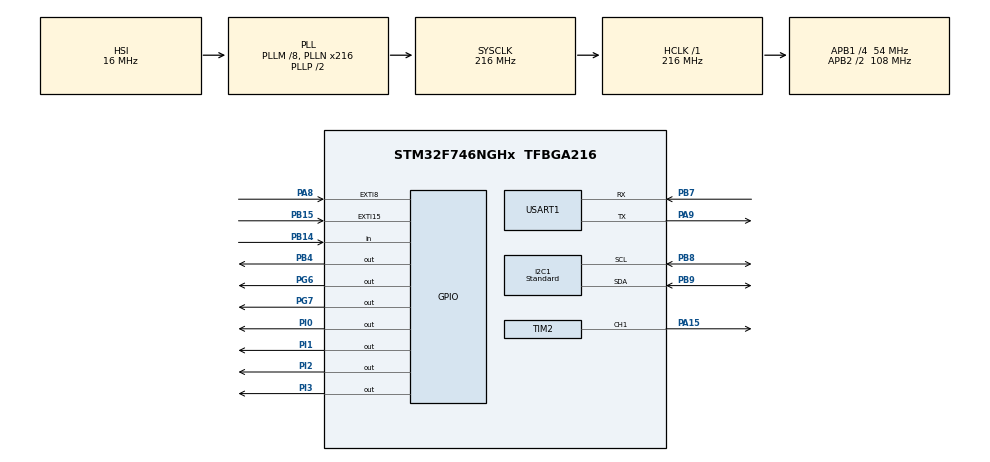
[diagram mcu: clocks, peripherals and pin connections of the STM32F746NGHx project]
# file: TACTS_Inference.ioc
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CORTEX_M7.CPU_DCache=Enabled
CORTEX_M7.CPU_ICache=Enabled
I2C1.I2C_Speed_Mode=I2C_Standard
I2C1.Timing=0x20404768
Mcu.Family=STM32F7
Mcu.Name=STM32F746NGHx
Mcu.Package=TFBGA216
NVIC.EXTI15_10_IRQn=true\:0\:0\:false\:true\:true\:4\:true\:true\:true
NVIC.EXTI9_5_IRQn=true\:0\:0\:false\:true\:true\:5\:true\:true\:true
NVIC.I2C1_ER_IRQn=true\:0\:0\:false\:true\:true\:2\:true\:true\:true
NVIC.I2C1_EV_IRQn=true\:0\:0\:false\:true\:true\:3\:true\:true\:true
NVIC.PriorityGroup=NVIC_PRIORITYGROUP_4
NVIC.RCC_IRQn=true\:0\:0\:false\:false\:true\:true\:false\:true
NVIC.TIM2_IRQn=true\:0\:0\:false\:true\:true\:6\:true\:true\:true
NVIC.USART1_IRQn=true\:0\:0\:false\:true\:true\:1\:true\:true\:true
PA15.Signal=S_TIM2_CH1_ETR
PA8.Signal=GPXTI8
PA9.Mode=Asynchronous
PA9.Signal=USART1_TX
PB14.Signal=GPIO_Input
PB15.Signal=GPXTI15
PB4.Signal=GPIO_Output
PB7.Mode=Asynchronous
PB7.Signal=USART1_RX
PB8.Mode=I2C
PB8.Signal=I2C1_SCL
PB9.Mode=I2C
PB9.Signal=I2C1_SDA
PG6.Signal=GPIO_Output
PG7.Signal=GPIO_Output
PH0/OSC_IN.Mode=HSE-External-Clock-Source
PH0/OSC_IN.Signal=RCC_OSC_IN
PH1/OSC_OUT.Mode=HSE-External-Clock-Source
PH1/OSC_OUT.Signal=RCC_OSC_OUT
PI0.Signal=GPIO_Output
PI1.Signal=GPIO_Output
PI2.Signal=GPIO_Output
PI3.Signal=GPIO_Output
ProjectManager.HeapSize=0x800
ProjectManager.StackSize=0x800
ProjectManager.TargetToolchain=STM32CubeIDE
RCC.AHBFreq_Value=216000000
RCC.APB1CLKDivider=RCC_HCLK_DIV4
RCC.APB1Freq_Value=54000000
RCC.APB1TimFreq_Value=108000000
RCC.APB2CLKDivider=RCC_HCLK_DIV2
RCC.APB2Freq_Value=108000000
RCC.APB2TimFreq_Value=216000000
RCC.CortexFreq_Value=216000000
RCC.HCLKFreq_Value=216000000
RCC.HSE_VALUE=8000000
RCC.HSI_VALUE=16000000
RCC.LSE_VALUE=32768
RCC.PLLM=8
RCC.PLLN=216
RCC.SYSCLKFreq_VALUE=216000000
RCC.SYSCLKSource=RCC_SYSCLKSOURCE_PLLCLK
RCC.USBFreq_Value=216000000
RCC.VCOOutputFreq_Value=432000000
SH.S_TIM2_CH1_ETR.0=TIM2_CH1,PWM Generation1 CH1
STMicroelectronics.X-CUBE-AI.8.1.0.ActivationBufferSizeList=7500
STMicroelectronics.X-CUBE-AI.8.1.0.ActivationBuffers=pool0
STMicroelectronics.X-CUBE-AI.8.1.0.ActivationNames=pool0
STMicroelectronics.X-CUBE-AI.8.1.0.ActivationSizes=AI_FOURLINE_DATA_ACTIVATION_1_SIZE
STMicroelectronics.X-CUBE-AI.8.1.0.HeapSize=0x800
STMicroelectronics.X-CUBE-AI.8.1.0.InternalRamActivationBufferMaxSize=AI_FOURLINE_DATA_ACTIVATIONS_SIZE
STMicroelectronics.X-CUBE-AI.8.1.0.LatestDirectoryUsed-8a2fe1598c8f062d02c7bb4ec76a1644bc453f842bbd3e2676f89fcfacc800a4=C\:\\Users\\21310\\Desktop\\PJH\\TACTS\\MicroController\\STM32F746\\TACTS_Inference\\goodFlies
STMicroelectronics.X-CUBE-AI.8.1.0.MaximumNumberOfInputLayer=1
STMicroelectronics.X-CUBE-AI.8.1.0.MaximumNumberOfOutputLayer=1
STMicroelectronics.X-CUBE-AI.8.1.0.MaximumSizeOfInputLayer=1
STMicroelectronics.X-CUBE-AI.8.1.0.MaximumSizeOfOutputLayer=1
STMicroelectronics.X-CUBE-AI.8.1.0.ModelActualCompression-8a2fe1598c8f062d02c7bb4ec76a1644bc453f842bbd3e2676f89fcfacc800a4=0.0
STMicroelectronics.X-CUBE-AI.8.1.0.ModelCompression-8a2fe1598c8f062d02c7bb4ec76a1644bc453f842bbd3e2676f89fcfacc800a4=None
STMicroelectronics.X-CUBE-AI.8.1.0.ModelFlashOccupation-8a2fe1598c8f062d02c7bb4ec76a1644bc453f842bbd3e2676f89fcfacc800a4=298624
STMicroelectronics.X-CUBE-AI.8.1.0.ModelHashList=8a2fe1598c8f062d02c7bb4ec76a1644bc453f842bbd3e2676f89fcfacc800a4
STMicroelectronics.X-CUBE-AI.8.1.0.ModelKind-8a2fe1598c8f062d02c7bb4ec76a1644bc453f842bbd3e2676f89fcfacc800a4=KERAS
STMicroelectronics.X-CUBE-AI.8.1.0.ModelMacc-8a2fe1598c8f062d02c7bb4ec76a1644bc453f842bbd3e2676f89fcfacc800a4=74708
STMicroelectronics.X-CUBE-AI.8.1.0.ModelName-8a2fe1598c8f062d02c7bb4ec76a1644bc453f842bbd3e2676f89fcfacc800a4=fourline
STMicroelectronics.X-CUBE-AI.8.1.0.ModelNameList=fourline
STMicroelectronics.X-CUBE-AI.8.1.0.ModelRamOccupation-8a2fe1598c8f062d02c7bb4ec76a1644bc453f842bbd3e2676f89fcfacc800a4=7500
STMicroelectronics.X-CUBE-AI.8.1.0.ModelStructureFile-8a2fe1598c8f062d02c7bb4ec76a1644bc453f842bbd3e2676f89fcfacc800a4=goodFlies/241119_0136_4kPa_6.5V_4line__CNN_MinEli5_Force1N.h5
STMicroelectronics.X-CUBE-AI.8.1.0.ModelType-8a2fe1598c8f062d02c7bb4ec76a1644bc453f842bbd3e2676f89fcfacc800a4=Saved model
STMicroelectronics.X-CUBE-AI.8.1.0.ReadyForCodeGeneration=true
STMicroelectronics.X-CUBE-AI.8.1.0.StackSize=0x800
STMicroelectronics.X-CUBE-AI.8.1.0.WorkingBufferStartAddrList=0xFFFFFFFF
STMicroelectronics.X-CUBE-AI.8.1.0.XAaCUBEAaAICcArtificialOoIntelligenceJjCore=true
STMicroelectronics.X-CUBE-AI.8.1.0.copyWeightToRam=false
STMicroelectronics.X-CUBE-AI.8.1.0.copyWeightToRam-8a2fe1598c8f062d02c7bb4ec76a1644bc453f842bbd3e2676f89fcfacc800a4=false
STMicroelectronics.X-CUBE-AI.8.1.0.customLayerConfigEnabled=false
STMicroelectronics.X-CUBE-AI.8.1.0.customLayerConfigEnabled-8a2fe1598c8f062d02c7bb4ec76a1644bc453f842bbd3e2676f89fcfacc800a4=false
STMicroelectronics.X-CUBE-AI.8.1.0.noOnnxIoTranspose=false
STMicroelectronics.X-CUBE-AI.8.1.0.noOnnxIoTranspose-8a2fe1598c8f062d02c7bb4ec76a1644bc453f842bbd3e2676f89fcfacc800a4=false
STMicroelectronics.X-CUBE-AI.8.1.0.useInputAllocation=true
STMicroelectronics.X-CUBE-AI.8.1.0.useInputAllocation-8a2fe1598c8f062d02c7bb4ec76a1644bc453f842bbd3e2676f89fcfacc800a4=true
STMicroelectronics.X-CUBE-AI.8.1.0.useOutputAllocation=true
STMicroelectronics.X-CUBE-AI.8.1.0.useOutputAllocation-8a2fe1598c8f062d02c7bb4ec76a1644bc453f842bbd3e2676f89fcfacc800a4=true
TIM2.Channel-PWM\ Generation1\ CH1=TIM_CHANNEL_1
TIM2.Period=1000-1
TIM2.Prescaler=2160-1
USART1.VirtualMode-Asynchronous=VM_ASYNC
VP_CRC_VS_CRC.Mode=CRC_Activate
VP_STMicroelectronics.X-CUBE-AI_VS_ArtificialOoIntelligenceJjXAaCUBEAaAI_8.1.0.Mode=ArtificialOoIntelligenceJjXAaCUBEAaAI
VP_TIM2_VS_ClockSourceINT.Mode=Internal
board=custom

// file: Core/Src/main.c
/* USER CODE BEGIN Header */
/**
  ******************************************************************************
  * @file           : main.c
  * @brief          : Main program body
  ******************************************************************************
  * @attention
  *
  * Copyright (c) 2023 STMicroelectronics.
  * All rights reserved.
  *
  * This software is licensed under terms that can be found in the LICENSE file
  * in the root directory of this software component.
  * If no LICENSE file comes with this software, it is provided AS-IS.
  *
  ******************************************************************************
  */
/* USER CODE END Header */
#include "main.h"

/* USER CODE BEGIN Includes */
#include "string.h"
#include "stdio.h"
#include "vl53l0x_jh.h"
#include "kalman.h"
#include "i2c.h"
#include "usart.h"
#include "threeLine.h"
#include "threeLine_data.h"
#include "ai.h"
#include "avgstd.h"
#include "motor.h"
#include "command.h"
#include "hx711.h"

/* USER CODE END Includes */

/* USER CODE BEGIN PD */
#define JH
//#define data
/* USER CODE END PD */

CRC_HandleTypeDef hcrc;

TIM_HandleTypeDef htim2;

void SystemClock_Config(void);
static void MX_GPIO_Init(void);
static void MX_CRC_Init(void);
static void MX_TIM2_Init(void);
static void MX_NVIC_Init(void);

int main(void)
{

  /* Enable I-Cache---------------------------------------------------------*/
  SCB_EnableICache();

  /* Enable D-Cache---------------------------------------------------------*/
  SCB_EnableDCache();

  /* MCU Configuration--------------------------------------------------------*/

  /* Reset of all peripherals, Initializes the Flash interface and the Systick. */
  HAL_Init();

  /* Configure the system clock */
  SystemClock_Config();

  /* Initialize all configured peripherals */
  MX_GPIO_Init();
  MX_USART1_UART_Init();
  MX_I2C1_Init();
  MX_CRC_Init();
  MX_TIM2_Init();

  /* Initialize interrupts */
  MX_NVIC_Init();
  /* USER CODE BEGIN 2 */
  HAL_TIM_PWM_Start(&htim2,TIM_CHANNEL_1);

  aiInit();
  startMsg();
  sayServoAngle(&htim2, TIM_CHANNEL_1, 0);

  /* USER CODE END 2 */

  /* Infinite loop */
  /* USER CODE BEGIN WHILE */
  while (1)
  {
#ifdef JH
	  if(ReceiveUartMessage(&huart1, rxMsg, sizeof(rxMsg)) == HAL_OK)
	  {
	      ProcessCommand(rxMsg);
	  }
#endif
#ifdef YJ

	  InferenceHeatI2CCommand();

#endif

    /* USER CODE END WHILE */

  }
}

void SystemClock_Config(void)
{
  RCC_OscInitTypeDef RCC_OscInitStruct = {0};
  RCC_ClkInitTypeDef RCC_ClkInitStruct = {0};

  /** Configure the main internal regulator output voltage
  */
  __HAL_RCC_PWR_CLK_ENABLE();
  __HAL_PWR_VOLTAGESCALING_CONFIG(PWR_REGULATOR_VOLTAGE_SCALE1);

  /** Initializes the RCC Oscillators according to the specified parameters
  * in the RCC_OscInitTypeDef structure.
  */
  RCC_OscInitStruct.OscillatorType = RCC_OSCILLATORTYPE_HSI;
  RCC_OscInitStruct.HSIState = RCC_HSI_ON;
  RCC_OscInitStruct.HSICalibrationValue = RCC_HSICALIBRATION_DEFAULT;
  RCC_OscInitStruct.PLL.PLLState = RCC_PLL_ON;
  RCC_OscInitStruct.PLL.PLLSource = RCC_PLLSOURCE_HSI;
  RCC_OscInitStruct.PLL.PLLM = 8;
  RCC_OscInitStruct.PLL.PLLN = 216;
  RCC_OscInitStruct.PLL.PLLP = RCC_PLLP_DIV2;
  RCC_OscInitStruct.PLL.PLLQ = 2;
  if (HAL_RCC_OscConfig(&RCC_OscInitStruct) != HAL_OK)
  {
    Error_Handler();
  }

  /** Activate the Over-Drive mode
  */
  if (HAL_PWREx_EnableOverDrive() != HAL_OK)
  {
    Error_Handler();
  }

  /** Initializes the CPU, AHB and APB buses clocks
  */
  RCC_ClkInitStruct.ClockType = RCC_CLOCKTYPE_HCLK|RCC_CLOCKTYPE_SYSCLK
                              |RCC_CLOCKTYPE_PCLK1|RCC_CLOCKTYPE_PCLK2;
  RCC_ClkInitStruct.SYSCLKSource = RCC_SYSCLKSOURCE_PLLCLK;
  RCC_ClkInitStruct.AHBCLKDivider = RCC_SYSCLK_DIV1;
  RCC_ClkInitStruct.APB1CLKDivider = RCC_HCLK_DIV4;
  RCC_ClkInitStruct.APB2CLKDivider = RCC_HCLK_DIV2;

  if (HAL_RCC_ClockConfig(&RCC_ClkInitStruct, FLASH_LATENCY_7) != HAL_OK)
  {
    Error_Handler();
  }
}

/**
  * @brief NVIC Configuration.
  * @retval None
  */
static void MX_NVIC_Init(void)
{
  /* USART1_IRQn interrupt configuration */
  HAL_NVIC_SetPriority(USART1_IRQn, 0, 0);
  HAL_NVIC_EnableIRQ(USART1_IRQn);
  /* I2C1_ER_IRQn interrupt configuration */
  HAL_NVIC_SetPriority(I2C1_ER_IRQn, 0, 0);
  HAL_NVIC_EnableIRQ(I2C1_ER_IRQn);
  /* I2C1_EV_IRQn interrupt configuration */
  HAL_NVIC_SetPriority(I2C1_EV_IRQn, 0, 0);
  HAL_NVIC_EnableIRQ(I2C1_EV_IRQn);
  /* EXTI15_10_IRQn interrupt configuration */
  HAL_NVIC_SetPriority(EXTI15_10_IRQn, 0, 0);
  HAL_NVIC_EnableIRQ(EXTI15_10_IRQn);
  /* EXTI9_5_IRQn interrupt configuration */
  HAL_NVIC_SetPriority(EXTI9_5_IRQn, 0, 0);
  HAL_NVIC_EnableIRQ(EXTI9_5_IRQn);
  /* TIM2_IRQn interrupt configuration */
  HAL_NVIC_SetPriority(TIM2_IRQn, 0, 0);
  HAL_NVIC_EnableIRQ(TIM2_IRQn);
}

static void MX_CRC_Init(void)
{

  hcrc.Instance = CRC;
  hcrc.Init.DefaultPolynomialUse = DEFAULT_POLYNOMIAL_ENABLE;
  hcrc.Init.DefaultInitValueUse = DEFAULT_INIT_VALUE_ENABLE;
  hcrc.Init.InputDataInversionMode = CRC_INPUTDATA_INVERSION_NONE;
  hcrc.Init.OutputDataInversionMode = CRC_OUTPUTDATA_INVERSION_DISABLE;
  hcrc.InputDataFormat = CRC_INPUTDATA_FORMAT_BYTES;
  if (HAL_CRC_Init(&hcrc) != HAL_OK)
  {
    Error_Handler();
  }

}

static void MX_TIM2_Init(void)
{

  TIM_ClockConfigTypeDef sClockSourceConfig = {0};
  TIM_MasterConfigTypeDef sMasterConfig = {0};
  TIM_OC_InitTypeDef sConfigOC = {0};

  htim2.Instance = TIM2;
  htim2.Init.Prescaler = 2160-1;
  htim2.Init.CounterMode = TIM_COUNTERMODE_UP;
  htim2.Init.Period = 1000-1;
  htim2.Init.ClockDivision = TIM_CLOCKDIVISION_DIV1;
  htim2.Init.AutoReloadPreload = TIM_AUTORELOAD_PRELOAD_DISABLE;
  if (HAL_TIM_Base_Init(&htim2) != HAL_OK)
  {
    Error_Handler();
  }
  sClockSourceConfig.ClockSource = TIM_CLOCKSOURCE_INTERNAL;
  if (HAL_TIM_ConfigClockSource(&htim2, &sClockSourceConfig) != HAL_OK)
  {
    Error_Handler();
  }
  if (HAL_TIM_PWM_Init(&htim2) != HAL_OK)
  {
    Error_Handler();
  }
  sMasterConfig.MasterOutputTrigger = TIM_TRGO_RESET;
  sMasterConfig.MasterSlaveMode = TIM_MASTERSLAVEMODE_DISABLE;
  if (HAL_TIMEx_MasterConfigSynchronization(&htim2, &sMasterConfig) != HAL_OK)
  {
    Error_Handler();
  }
  sConfigOC.OCMode = TIM_OCMODE_PWM1;
  sConfigOC.Pulse = 0;
  sConfigOC.OCPolarity = TIM_OCPOLARITY_HIGH;
  sConfigOC.OCFastMode = TIM_OCFAST_DISABLE;
  if (HAL_TIM_PWM_ConfigChannel(&htim2, &sConfigOC, TIM_CHANNEL_1) != HAL_OK)
  {
    Error_Handler();
  }
  HAL_TIM_MspPostInit(&htim2);

}

static void MX_GPIO_Init(void)
{
  GPIO_InitTypeDef GPIO_InitStruct = {0};

  /* GPIO Ports Clock Enable */
  __HAL_RCC_GPIOB_CLK_ENABLE();
  __HAL_RCC_GPIOA_CLK_ENABLE();
  __HAL_RCC_GPIOI_CLK_ENABLE();
  __HAL_RCC_GPIOH_CLK_ENABLE();
  __HAL_RCC_GPIOG_CLK_ENABLE();

  /*Configure GPIO pin Output Level */
  HAL_GPIO_WritePin(GPIOB, GPIO_PIN_4, GPIO_PIN_RESET);

  /*Configure GPIO pin Output Level */
  HAL_GPIO_WritePin(GPIOI, GPIO_PIN_3|GPIO_PIN_2|GPIO_PIN_1|GPIO_PIN_0, GPIO_PIN_RESET);

  /*Configure GPIO pin Output Level */
  HAL_GPIO_WritePin(GPIOG, GPIO_PIN_7|GPIO_PIN_6, GPIO_PIN_RESET);

  /*Configure GPIO pin : PB4 */
  GPIO_InitStruct.Pin = GPIO_PIN_4;
  GPIO_InitStruct.Mode = GPIO_MODE_OUTPUT_PP;
  GPIO_InitStruct.Pull = GPIO_NOPULL;
  GPIO_InitStruct.Speed = GPIO_SPEED_FREQ_LOW;
  HAL_GPIO_Init(GPIOB, &GPIO_InitStruct);

  /*Configure GPIO pins : PI3 PI2 PI1 PI0 */
  GPIO_InitStruct.Pin = GPIO_PIN_3|GPIO_PIN_2|GPIO_PIN_1|GPIO_PIN_0;
  GPIO_InitStruct.Mode = GPIO_MODE_OUTPUT_PP;
  GPIO_InitStruct.Pull = GPIO_NOPULL;
  GPIO_InitStruct.Speed = GPIO_SPEED_FREQ_LOW;
  HAL_GPIO_Init(GPIOI, &GPIO_InitStruct);

  /*Configure GPIO pin : PA8 */
  GPIO_InitStruct.Pin = GPIO_PIN_8;
  GPIO_InitStruct.Mode = GPIO_MODE_IT_RISING;
  GPIO_InitStruct.Pull = GPIO_NOPULL;
  HAL_GPIO_Init(GPIOA, &GPIO_InitStruct);

  /*Configure GPIO pins : PG7 PG6 */
  GPIO_InitStruct.Pin = GPIO_PIN_7|GPIO_PIN_6;
  GPIO_InitStruct.Mode = GPIO_MODE_OUTPUT_PP;
  GPIO_InitStruct.Pull = GPIO_NOPULL;
  GPIO_InitStruct.Speed = GPIO_SPEED_FREQ_LOW;
  HAL_GPIO_Init(GPIOG, &GPIO_InitStruct);

  /*Configure GPIO pin : PB14 */
  GPIO_InitStruct.Pin = GPIO_PIN_14;
  GPIO_InitStruct.Mode = GPIO_MODE_INPUT;
  GPIO_InitStruct.Pull = GPIO_NOPULL;
  HAL_GPIO_Init(GPIOB, &GPIO_InitStruct);

  /*Configure GPIO pin : PB15 */
  GPIO_InitStruct.Pin = GPIO_PIN_15;
  GPIO_InitStruct.Mode = GPIO_MODE_IT_RISING;
  GPIO_InitStruct.Pull = GPIO_NOPULL;
  HAL_GPIO_Init(GPIOB, &GPIO_InitStruct);

}

void Error_Handler(void)
{
  /* USER CODE BEGIN Error_Handler_Debug */
  /* User can add his own implementation to report the HAL error return state */
  __disable_irq();
  while (1)
  {
	  HAL_UART_Transmit(&huart1, (uint8_t*)txMsg, sprintf((char*)txMsg, "Error\n\r"), 100);
  }
  /* USER CODE END Error_Handler_Debug */
}
